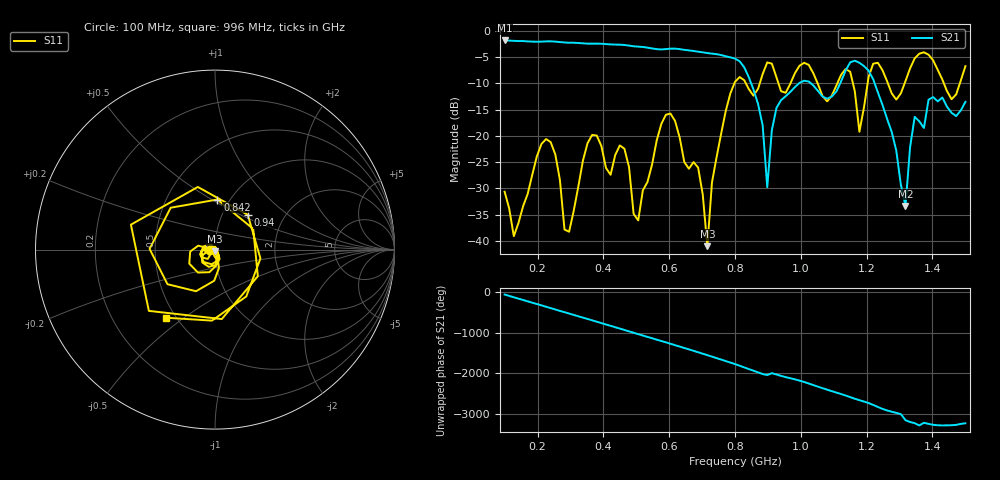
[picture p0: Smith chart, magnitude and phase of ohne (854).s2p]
! NanoVNA-App
! Date: 2025-09-25 14:27:27
! Start: 100MHz Stop: 1,5GHz Points: 101
! S-Parameter data: F S11 S21 S12 S22
# Hz S RI R 50
!  Frequency  S11_Real  S11_Imag  S21_Real  S21_Imag  S12_Real  S12_Imag  S22_Real  S22_Imag
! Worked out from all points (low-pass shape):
!   101 points, 100 MHz to 1.5 GHz, reference 50 ohm
!   highest |S21| = -1.79 dB at 100 MHz (marker M1); lowest = -33.4 dB at 1.318 GHz (marker M2)
!   |S21| within 3 dB of the highest: start of sweep to 770.7 MHz
!   lowest |S11| = -41.0 dB at 716 MHz (marker M3), VSWR 1.02, Z = 49.8 - j0.854 ohm
!   |S11| at or under -10 dB: start of sweep to 798 MHz; 833.1 MHz to 875.1 MHz (41.95 MHz wide, 4.91 % of centre); 1.051 GHz to 1.111 GHz (59.53 MHz wide, 5.51 % of centre) (the widest 3 of 7)
!   S12 and S22 are empty: the file has one direction only
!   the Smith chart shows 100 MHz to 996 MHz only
!   S11 on the Smith chart (normalised r, x): 100 MHz: 0.94, -0.01; 842 MHz: 0.88, +0.53; 940 MHz: 1.32, +0.55; 996 MHz: 0.44, -0.43
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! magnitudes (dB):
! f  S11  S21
! 100 MHz  -30.6  -1.8
! 128 MHz  -39.1  -1.9
! 226 MHz  -20.6  -2.0
! 296 MHz  -38.3  -2.2
! 338 MHz  -24.7  -2.3
! 464 MHz  -22.4  -2.7
! 506 MHz  -36.1  -3.0
! 576 MHz  -17.7  -3.5
! 688 MHz  -26.0  -3.9
! 716 MHz  -41.0  -4.2
! 800 MHz  -9.7  -5.3
! 842 MHz  -11.1  -8.8
! 898 MHz  -6.0  -29.8
! 940 MHz  -11.5  -13.2
! 996 MHz  -6.6  -9.9
! 1.038 GHz  -8.0  -10.4
! 1.178 GHz  -19.2  -6.1
! 1.22 GHz  -6.2  -9.2
! 1.276 GHz  -11.9  -19.2
! 1.318 GHz  -9.5  -33.4
! 1.346 GHz  -5.2  -16.4
! 1.5 GHz  -6.7  -13.5
